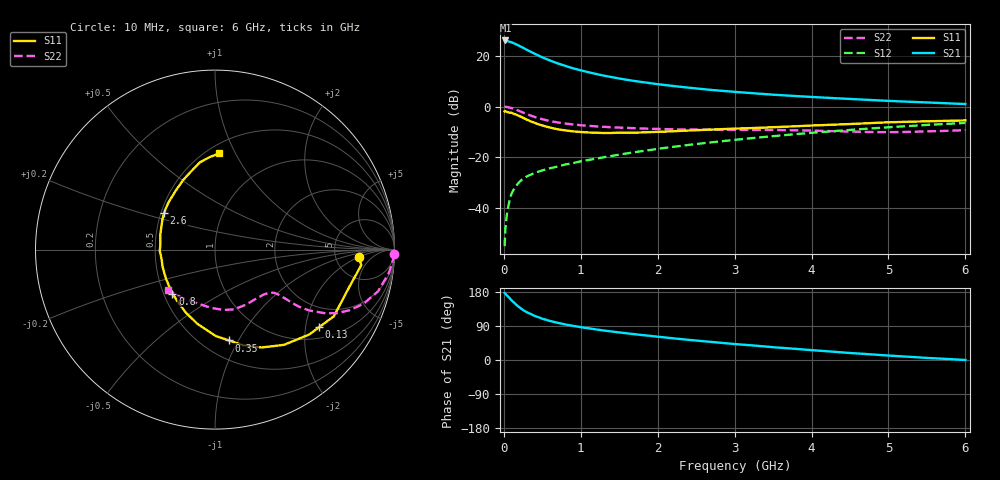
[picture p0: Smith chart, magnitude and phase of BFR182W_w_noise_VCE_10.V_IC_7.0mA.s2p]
! Infineon Technologies  Discrete & RF Semiconductors
! BFR182W
! VCE =  10. V,  IC =  7.0 mA
! Common Emitter S-Parameters:  Jan 2017
# GHz  S  MA  R  50
!  f  S11  S21  S12  S22
! GHz  MAG  ANG  MAG  ANG  MAG  ANG  MAG  ANG
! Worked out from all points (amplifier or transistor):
!   77 points, 10 MHz to 6 GHz, reference 50 ohm
!   highest |S21| = 26.0 dB at 20 MHz (marker M1)
!   |S21| within 3 dB of that: start of sweep to 257.5 MHz
!   unconditionally stable (mu >= 1): 1.229 GHz to 2.75 GHz
!   at 130 MHz: K = 0.22, MSG = 28.7 dB, |S12| = -32.5 dB
!   at 2.2 GHz: K = 1.03, MAG = 10.8 dB, |S12| = -15.8 dB
!   at 6 GHz: K = 0.84, MSG = 3.7 dB, |S12| = -6.4 dB
!   lowest NFmin = 0.95 dB at 450 MHz
!   S11 on the Smith chart (normalised r, x): 10 MHz: 8.70, -2.07; 130 MHz: 1.31, -2.38; 350 MHz: 0.67, -0.92; 800 MHz: 0.56, -0.31; 2.6 GHz: 0.52, +0.24; 6 GHz: 0.57, +0.86
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0.01  0.8038 -3.0  19.82 177.0  0.0018 81.7  0.9967 -1.4
0.02  0.8194 -6.1  20.04 175.0  0.0039 91.1  0.9938 -3.2
0.05  0.779 -14.8  19.41 168.4  0.0093 81.9  0.9781 -7.5
0.1  0.7592 -29.3  18.46 157.6  0.0193 76.6  0.9384 -14.3
0.13  0.7235 -36.7  17.61 152.0  0.0236 72.3  0.9033 -17.6
0.15  0.7069 -42.0  17.14 147.9  0.0266 70.2  0.8817 -20.0
0.2  0.6552 -54.1  15.74 139.3  0.0328 65.9  0.8218 -24.3
0.25  0.6035 -64.7  14.39 131.9  0.0383 62.3  0.7644 -27.6
0.3  0.5537 -73.9  13.08 125.9  0.0425 60.4  0.7099 -30.0
0.35  0.5124 -81.2  11.99 121.5  0.046 58.8  0.6683 -31.3
0.4  0.4808 -89.7  10.99 116.2  0.0495 57.5  0.6271 -32.8
0.5  0.4264 -103.0  9.325 109.0  0.0557 56.6  0.566 -34.2
0.6  0.3871 -114.8  8.084 103.0  0.0614 56.9  0.521 -34.7
0.8  0.3408 -134.1  6.323 93.8  0.073 59.0  0.4651 -35.0
1.1  0.3102 -156.3  4.753 83.7  0.0892 60.9  0.4198 -35.8
1.5  0.3078 -178.4  3.579 72.8  0.1138 62.7  0.3868 -38.6
2.1  0.3229 158.3  2.657 59.4  0.1548 62.9  0.3614 -46.7
2.6  0.349 144.2  2.201 49.4  0.1911 61.9  0.3525 -55.9
3.1  0.3736 132.1  1.903 40.6  0.2298 59.6  0.3494 -65.2
4.1  0.4307 113.2  1.522 24.6  0.3138 53.0  0.3352 -84.8
5.1  0.497 98.6  1.279 10.5  0.4012 44.3  0.3155 -113.2
6  0.5362 87.7  1.125 0.0  0.4783 35.2  0.3456 -139.5
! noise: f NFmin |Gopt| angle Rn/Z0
0.45  0.95  0.17  35  0.16
0.9  1.04  0.15  63  0.15
1.9  1.57  0.18  174  0.13
2.4  1.84  0.19  -178  0.18
